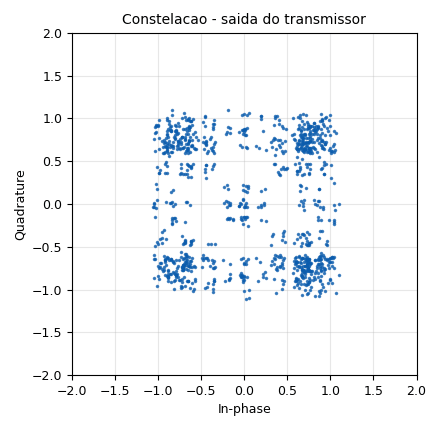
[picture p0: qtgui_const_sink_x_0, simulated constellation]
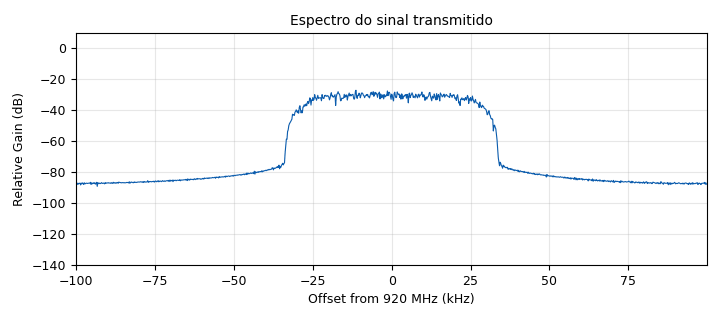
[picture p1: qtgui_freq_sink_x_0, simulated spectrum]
<?xml version='1.0' encoding='utf-8'?>
<?grc format='1' created='3.7.11'?>
<flow_graph>
<block>
<key>options</key>
<param><key>id</key><value>digital_tx</value></param>
<param><key>category</key><value>Custom</value></param>
<param><key>generate_options</key><value>qt_gui</value></param>
<param><key>title</key><value>Exemplo transmissão digital </value></param>
</block>
<block>
<key>variable_constellation</key>
<param><key>id</key><value>const</value></param>
<param><key>type</key><value>qpsk</value></param>
<param><key>precision</key><value>8</value></param>
</block>
<block>
<key>variable</key>
<param><key>id</key><value>excess_bw</value></param>
<param><key>value</key><value>0.35</value></param>
</block>
<block>
<key>variable</key>
<param><key>id</key><value>fc</value></param>
<param><key>value</key><value>920e6</value></param>
</block>
<block>
<key>variable</key>
<param><key>id</key><value>samp_rate</value></param>
<param><key>value</key><value>200000</value></param>
</block>
<block>
<key>variable</key>
<param><key>id</key><value>sps</value></param>
<param><key>value</key><value>4</value></param>
</block>
<block>
<key>analog_random_source_x</key>
<param><key>id</key><value>analog_random_source_x_0</value></param>
<param><key>max</key><value>256</value></param>
<param><key>min</key><value>0</value></param>
<param><key>num_samps</key><value>10000</value></param>
<param><key>type</key><value>byte</value></param>
<param><key>repeat</key><value>True</value></param>
</block>
<block>
<key>blocks_throttle</key>
<param><key>id</key><value>blocks_throttle_0</value></param>
<param><key>samples_per_second</key><value>samp_rate</value></param>
<param><key>type</key><value>complex</value></param>
</block>
<block>
<key>digital_constellation_modulator</key>
<param><key>id</key><value>digital_constellation_modulator_0</value></param>
<param><key>constellation</key><value>const</value></param>
<param><key>differential</key><value>True</value></param>
<param><key>excess_bw</key><value>excess_bw</value></param>
<param><key>samples_per_symbol</key><value>sps</value></param>
</block>
<block>
<key>qtgui_const_sink_x</key>
<param><key>id</key><value>qtgui_const_sink_x_0</value></param>
<param><key>gui_hint</key><value>tab@0:0,1,1,1</value></param>
<param><key>name</key><value>"Constelacao - saida do transmissor"</value></param>
<param><key>size</key><value>1024</value></param>
<param><key>type</key><value>complex</value></param>
</block>
<block>
<key>qtgui_freq_sink_x</key>
<param><key>id</key><value>qtgui_freq_sink_x_0</value></param>
<param><key>average</key><value>0.05</value></param>
<param><key>bw</key><value>samp_rate</value></param>
<param><key>fc</key><value>fc</value></param>
<param><key>fftsize</key><value>1024</value></param>
<param><key>gui_hint</key><value>tab@0:0,0,1,1</value></param>
<param><key>grid</key><value>True</value></param>
<param><key>name</key><value>"Espectro do sinal transmitido"</value></param>
<param><key>showports</key><value>True</value></param>
<param><key>type</key><value>complex</value></param>
<param><key>wintype</key><value>firdes.WIN_HAMMING</value></param>
</block>
<block>
<key>qtgui_tab_widget</key>
<param><key>id</key><value>tab</value></param>
<param><key>label0</key><value>Transmissor</value></param>
<param><key>num_tabs</key><value>1</value></param>
</block>
<block>
<key>uhd_usrp_sink</key>
<param><key>id</key><value>uhd_usrp_sink_0</value></param>
<param><key>ant0</key><value>TX/RX</value></param>
<param><key>center_freq0</key><value>fc</value></param>
<param><key>norm_gain0</key><value>False</value></param>
<param><key>gain0</key><value>75</value></param>
<param><key>clock_rate</key><value>0.0</value></param>
<param><key>dev_args</key><value>""</value></param>
<param><key>type</key><value>fc32</value></param>
<param><key>samp_rate</key><value>samp_rate</value></param>
<param><key>hide_cmd_port</key><value>False</value></param>
<param><key>hide_lo_controls</key><value>True</value></param>
<param><key>sync</key><value></value></param>
<param><key>len_tag_name</key><value></value></param>
</block>
<connection><source_block_id>analog_random_source_x_0</source_block_id><sink_block_id>digital_constellation_modulator_0</sink_block_id><source_key>0</source_key><sink_key>0</sink_key></connection>
<connection><source_block_id>blocks_throttle_0</source_block_id><sink_block_id>qtgui_const_sink_x_0</sink_block_id><source_key>0</source_key><sink_key>0</sink_key></connection>
<connection><source_block_id>blocks_throttle_0</source_block_id><sink_block_id>qtgui_freq_sink_x_0</sink_block_id><source_key>0</source_key><sink_key>0</sink_key></connection>
<connection><source_block_id>blocks_throttle_0</source_block_id><sink_block_id>uhd_usrp_sink_0</sink_block_id><source_key>0</source_key><sink_key>0</sink_key></connection>
<connection><source_block_id>digital_constellation_modulator_0</source_block_id><sink_block_id>blocks_throttle_0</sink_block_id><source_key>0</source_key><sink_key>0</sink_key></connection>
</flow_graph>
